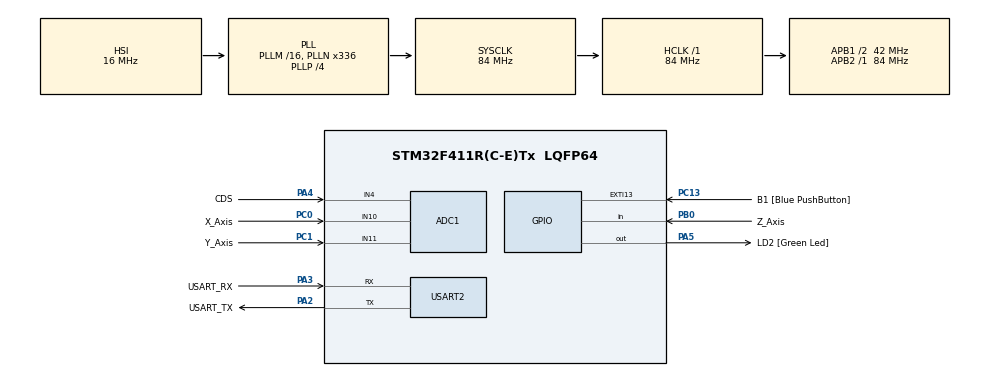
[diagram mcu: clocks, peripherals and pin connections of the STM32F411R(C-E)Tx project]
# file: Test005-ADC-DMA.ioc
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ADC1.Channel-0\#ChannelRegularConversion=ADC_CHANNEL_10
ADC1.Channel-1\#ChannelRegularConversion=ADC_CHANNEL_11
ADC1.Channel-2\#ChannelRegularConversion=ADC_CHANNEL_4
ADC1.DMAContinuousRequests=ENABLE
ADC1.DiscontinuousConvMode=ENABLE
ADC1.EOCSelection=ADC_EOC_SEQ_CONV
ADC1.ExternalTrigConv=ADC_EXTERNALTRIGCONV_T3_TRGO
ADC1.NbrOfConversion=3
ADC1.NbrOfConversionFlag=1
ADC1.Rank-0\#ChannelRegularConversion=1
ADC1.Rank-1\#ChannelRegularConversion=2
ADC1.Rank-2\#ChannelRegularConversion=3
ADC1.SamplingTime-0\#ChannelRegularConversion=ADC_SAMPLETIME_3CYCLES
ADC1.SamplingTime-1\#ChannelRegularConversion=ADC_SAMPLETIME_3CYCLES
ADC1.SamplingTime-2\#ChannelRegularConversion=ADC_SAMPLETIME_3CYCLES
ADC1.ScanConvMode=ENABLE
ADC1.master=1
Dma.ADC1.0.Direction=DMA_PERIPH_TO_MEMORY
Dma.ADC1.0.FIFOMode=DMA_FIFOMODE_DISABLE
Dma.ADC1.0.Instance=DMA2_Stream0
Dma.ADC1.0.MemDataAlignment=DMA_MDATAALIGN_HALFWORD
Dma.ADC1.0.MemInc=DMA_MINC_ENABLE
Dma.ADC1.0.Mode=DMA_CIRCULAR
Dma.ADC1.0.PeriphDataAlignment=DMA_PDATAALIGN_HALFWORD
Dma.ADC1.0.PeriphInc=DMA_PINC_DISABLE
Dma.ADC1.0.Priority=DMA_PRIORITY_LOW
Dma.Request0=ADC1
Mcu.Family=STM32F4
Mcu.Name=STM32F411R(C-E)Tx
Mcu.Package=LQFP64
NVIC.ADC_IRQn=true\:0\:0\:false\:false\:true\:true\:true\:true
NVIC.DMA2_Stream0_IRQn=true\:0\:0\:false\:false\:true\:false\:true\:true
NVIC.EXTI15_10_IRQn=true\:0\:0\:false\:false\:true\:true\:true\:true
NVIC.PriorityGroup=NVIC_PRIORITYGROUP_0
PA13.GPIO_Label=TMS
PA13.Mode=Serial_Wire
PA13.Signal=SYS_JTMS-SWDIO
PA14.GPIO_Label=TCK
PA14.Mode=Serial_Wire
PA14.Signal=SYS_JTCK-SWCLK
PA2.GPIO_Label=USART_TX
PA2.Mode=Asynchronous
PA2.Signal=USART2_TX
PA3.GPIO_Label=USART_RX
PA3.Mode=Asynchronous
PA3.Signal=USART2_RX
PA4.GPIO_Label=CDS
PA4.Signal=ADCx_IN4
PA5.GPIO_Label=LD2 [Green Led]
PA5.Signal=GPIO_Output
PB0.GPIO_Label=Z_Axis
PB0.GPIO_PuPd=GPIO_PULLUP
PB0.Signal=GPIO_Input
PB3.GPIO_Label=SWO
PB3.Signal=SYS_JTDO-SWO
PC0.GPIO_Label=X_Axis
PC0.Signal=ADCx_IN10
PC1.GPIO_Label=Y_Axis
PC1.Signal=ADCx_IN11
PC13-ANTI_TAMP.GPIO_Label=B1 [Blue PushButton]
PC13-ANTI_TAMP.GPIO_ModeDefaultEXTI=GPIO_MODE_IT_FALLING
PC13-ANTI_TAMP.Signal=GPXTI13
PC14-OSC32_IN.Mode=LSE-External-Oscillator
PC14-OSC32_IN.Signal=RCC_OSC32_IN
PC15-OSC32_OUT.Mode=LSE-External-Oscillator
PC15-OSC32_OUT.Signal=RCC_OSC32_OUT
PH0\ -\ OSC_IN.Mode=HSE-External-Clock-Source
PH0\ -\ OSC_IN.Signal=RCC_OSC_IN
PH1\ -\ OSC_OUT.Mode=HSE-External-Clock-Source
PH1\ -\ OSC_OUT.Signal=RCC_OSC_OUT
ProjectManager.HeapSize=0x200
ProjectManager.StackSize=0x400
ProjectManager.TargetToolchain=STM32CubeIDE
RCC.48MHZClocksFreq_Value=84000000
RCC.AHBFreq_Value=84000000
RCC.APB1CLKDivider=RCC_HCLK_DIV2
RCC.APB1Freq_Value=42000000
RCC.APB1TimFreq_Value=84000000
RCC.APB2Freq_Value=84000000
RCC.APB2TimFreq_Value=84000000
RCC.CortexFreq_Value=84000000
RCC.FLatency-AdvancedSettings=FLASH_LATENCY_2
RCC.HCLKFreq_Value=84000000
RCC.HSE_VALUE=8000000
RCC.HSI_VALUE=16000000
RCC.PLLN=336
RCC.PLLP=RCC_PLLP_DIV4
RCC.SYSCLKFreq_VALUE=84000000
RCC.SYSCLKSource=RCC_SYSCLKSOURCE_PLLCLK
RCC.VCOOutputFreq_Value=336000000
SH.ADCx_IN10.0=ADC1_IN10,IN10
SH.ADCx_IN11.0=ADC1_IN11,IN11
SH.ADCx_IN4.0=ADC1_IN4,IN4
TIM3.Period=1000-1
TIM3.Prescaler=8400-1
TIM3.TIM_MasterOutputTrigger=TIM_TRGO_UPDATE
USART2.VirtualMode=VM_ASYNC
VP_TIM3_VS_ClockSourceINT.Mode=Internal
board=NUCLEO-F411RE

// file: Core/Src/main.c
/* USER CODE BEGIN Header */
/**
  ******************************************************************************
  * @file           : main.c
  * @brief          : Main program body
  ******************************************************************************
  * @attention
  *
  * Copyright (c) 2024 STMicroelectronics.
  * All rights reserved.
  *
  * This software is licensed under terms that can be found in the LICENSE file
  * in the root directory of this software component.
  * If no LICENSE file comes with this software, it is provided AS-IS.
  *
  ******************************************************************************
  */
/* USER CODE END Header */
#include "main.h"

ADC_HandleTypeDef hadc1;
DMA_HandleTypeDef hdma_adc1;

TIM_HandleTypeDef htim3;

UART_HandleTypeDef huart2;

void SystemClock_Config(void);
static void MX_GPIO_Init(void);
static void MX_DMA_Init(void);
static void MX_USART2_UART_Init(void);
static void MX_ADC1_Init(void);
static void MX_TIM3_Init(void);

/* USER CODE BEGIN 0 */

union
{
	char v0[500];
	short v1[10];
	int v2[20];
	long v3[10];

} buf;

int mode=0;
void HAL_GPIO_EXTI_Callback(uint16_t GPIO_Pin)
{
	if (++mode>5) mode=1;
	cls();
}
void HAL_ADC_ConvCpltCallback(ADC_HandleTypeDef *hadc)
{

}

/* USER CODE END 0 */

int main(void)
{

  /* MCU Configuration--------------------------------------------------------*/

  /* Reset of all peripherals, Initializes the Flash interface and the Systick. */
  HAL_Init();

  /* Configure the system clock */
  SystemClock_Config();

  /* Initialize all configured peripherals */
  MX_GPIO_Init();
  MX_DMA_Init();
  MX_USART2_UART_Init();
  MX_ADC1_Init();
  MX_TIM3_Init();
  /* USER CODE BEGIN 2 */
  ProgramStart("ADC-DMA");
  HAL_TIM_Base_Start(&htim3);
  HAL_ADC_Start_DMA(&hadc1, &buf, 3);

  /* USER CODE END 2 */

  /* Infinite loop */
  /* USER CODE BEGIN WHILE */
  int lm=1;
  while (1)
  {
    /* USER CODE END WHILE */

    /* USER CODE BEGIN 3 */
	  int z=HAL_GPIO_ReadPin(Z_Axis_GPIO_Port, Z_Axis_Pin);
	  switch (mode)
	  {
	  case 1:
		  if(lm !=mode) {cls(); lm=mode;}  //delay 줄이기 위한 것 인데 잘 이해 안감
		  printf("\033[3;7HP(%d, %d, %d):%d     \n", buf.v1[0], buf.v1[1], z, buf.v1[2]);
		  break;

	  case 2:  //byte dump
		  if(lm !=mode) {cls(); lm=mode;}
		  printf("\033[3;7HP(%d, %d, %d):%d     \n", buf.v1[0], buf.v1[1], z, buf.v1[2]);
		  printf("\033[7;7H      <Memory dump mode>\r\n");
		  printf("\033[9;0H");
		  for(int j=0; j<20; j++)  //row index
		  {
		  	for(int i=0; i<16; i++)  //column index
		  	{
		  		printf("%02x ", buf.v0[16*j+i]);
		  		if(i==7) printf("   ");
		  	}
		  		printf("\r\n");
		  } break;

	  case 3:  //short dump
		  if(lm !=mode) {cls(); lm=mode;}
		  printf("\033[3;7HP(%d, %d, %d):%d     \n", buf.v1[0], buf.v1[1], z, buf.v1[2]);
		  printf("\033[7;7H      <Memory short mode>\r\n");
		  printf("\033[9;0H");
		  for(int j=0; j<20; j++)
		  {
		  	for(int i=0; i<8; i++)
		  	{
		  		printf("%04x ", buf.v1[8*j+i]);
		  		if(i==3) printf("   ");
		  	}
		  		printf("\r\n");
		  } break;
	  case 4:  //int dump
		  if(lm !=mode) {cls(); lm=mode;}
		  printf("\033[3;7HP(%d, %d, %d):%d     \n", buf.v1[0], buf.v1[1], z, buf.v1[2]);
		  printf("\033[7;7H      <Memory int mode>\r\n");
		  printf("\033[9;0H");
		  for(int j=0; j<20; j++)
		  {
			  for(int i=0; i<4; i++)
			  {
				  printf("%08x ", buf.v2[4*j+i]);
				  if(i==1) printf("   ");
			  }
				  printf("\r\n");
		  } break;
	  case 5:  //long dump
		  if(lm !=mode) {cls(); lm=mode;}
		  printf("\033[3;7HP(%d, %d, %d):%d     \n", buf.v1[0], buf.v1[1], z, buf.v1[2]);
		  printf("\033[7;7H      <Memory long mode>\r\n");
		  printf("\033[9;0H");
		  for(int j=0; j<20; j++)
		  {
			  for(int i=0; i<4; i++)
			  {
				  printf("%08X ", buf.v3[4*j+i]);
				  if(i==1) printf("   ");
			  }
				  printf("\r\n");
		  } break;

	  }

  }
  /* USER CODE END 3 */
}

void SystemClock_Config(void)
{
  RCC_OscInitTypeDef RCC_OscInitStruct = {0};
  RCC_ClkInitTypeDef RCC_ClkInitStruct = {0};

  /** Configure the main internal regulator output voltage
  */
  __HAL_RCC_PWR_CLK_ENABLE();
  __HAL_PWR_VOLTAGESCALING_CONFIG(PWR_REGULATOR_VOLTAGE_SCALE1);

  /** Initializes the RCC Oscillators according to the specified parameters
  * in the RCC_OscInitTypeDef structure.
  */
  RCC_OscInitStruct.OscillatorType = RCC_OSCILLATORTYPE_HSI;
  RCC_OscInitStruct.HSIState = RCC_HSI_ON;
  RCC_OscInitStruct.HSICalibrationValue = RCC_HSICALIBRATION_DEFAULT;
  RCC_OscInitStruct.PLL.PLLState = RCC_PLL_ON;
  RCC_OscInitStruct.PLL.PLLSource = RCC_PLLSOURCE_HSI;
  RCC_OscInitStruct.PLL.PLLM = 16;
  RCC_OscInitStruct.PLL.PLLN = 336;
  RCC_OscInitStruct.PLL.PLLP = RCC_PLLP_DIV4;
  RCC_OscInitStruct.PLL.PLLQ = 4;
  if (HAL_RCC_OscConfig(&RCC_OscInitStruct) != HAL_OK)
  {
    Error_Handler();
  }

  /** Initializes the CPU, AHB and APB buses clocks
  */
  RCC_ClkInitStruct.ClockType = RCC_CLOCKTYPE_HCLK|RCC_CLOCKTYPE_SYSCLK
                              |RCC_CLOCKTYPE_PCLK1|RCC_CLOCKTYPE_PCLK2;
  RCC_ClkInitStruct.SYSCLKSource = RCC_SYSCLKSOURCE_PLLCLK;
  RCC_ClkInitStruct.AHBCLKDivider = RCC_SYSCLK_DIV1;
  RCC_ClkInitStruct.APB1CLKDivider = RCC_HCLK_DIV2;
  RCC_ClkInitStruct.APB2CLKDivider = RCC_HCLK_DIV1;

  if (HAL_RCC_ClockConfig(&RCC_ClkInitStruct, FLASH_LATENCY_2) != HAL_OK)
  {
    Error_Handler();
  }
}

static void MX_ADC1_Init(void)
{

  ADC_ChannelConfTypeDef sConfig = {0};

  /** Configure the global features of the ADC (Clock, Resolution, Data Alignment and number of conversion)
  */
  hadc1.Instance = ADC1;
  hadc1.Init.ClockPrescaler = ADC_CLOCK_SYNC_PCLK_DIV4;
  hadc1.Init.Resolution = ADC_RESOLUTION_12B;
  hadc1.Init.ScanConvMode = ENABLE;
  hadc1.Init.ContinuousConvMode = DISABLE;
  hadc1.Init.DiscontinuousConvMode = ENABLE;
  hadc1.Init.NbrOfDiscConversion = 1;
  hadc1.Init.ExternalTrigConvEdge = ADC_EXTERNALTRIGCONVEDGE_RISING;
  hadc1.Init.ExternalTrigConv = ADC_EXTERNALTRIGCONV_T3_TRGO;
  hadc1.Init.DataAlign = ADC_DATAALIGN_RIGHT;
  hadc1.Init.NbrOfConversion = 3;
  hadc1.Init.DMAContinuousRequests = ENABLE;
  hadc1.Init.EOCSelection = ADC_EOC_SEQ_CONV;
  if (HAL_ADC_Init(&hadc1) != HAL_OK)
  {
    Error_Handler();
  }

  /** Configure for the selected ADC regular channel its corresponding rank in the sequencer and its sample time.
  */
  sConfig.Channel = ADC_CHANNEL_10;
  sConfig.Rank = 1;
  sConfig.SamplingTime = ADC_SAMPLETIME_3CYCLES;
  if (HAL_ADC_ConfigChannel(&hadc1, &sConfig) != HAL_OK)
  {
    Error_Handler();
  }

  /** Configure for the selected ADC regular channel its corresponding rank in the sequencer and its sample time.
  */
  sConfig.Channel = ADC_CHANNEL_11;
  sConfig.Rank = 2;
  if (HAL_ADC_ConfigChannel(&hadc1, &sConfig) != HAL_OK)
  {
    Error_Handler();
  }

  /** Configure for the selected ADC regular channel its corresponding rank in the sequencer and its sample time.
  */
  sConfig.Channel = ADC_CHANNEL_4;
  sConfig.Rank = 3;
  if (HAL_ADC_ConfigChannel(&hadc1, &sConfig) != HAL_OK)
  {
    Error_Handler();
  }

}

static void MX_TIM3_Init(void)
{

  TIM_ClockConfigTypeDef sClockSourceConfig = {0};
  TIM_MasterConfigTypeDef sMasterConfig = {0};

  htim3.Instance = TIM3;
  htim3.Init.Prescaler = 8400-1;
  htim3.Init.CounterMode = TIM_COUNTERMODE_UP;
  htim3.Init.Period = 1000-1;
  htim3.Init.ClockDivision = TIM_CLOCKDIVISION_DIV1;
  htim3.Init.AutoReloadPreload = TIM_AUTORELOAD_PRELOAD_DISABLE;
  if (HAL_TIM_Base_Init(&htim3) != HAL_OK)
  {
    Error_Handler();
  }
  sClockSourceConfig.ClockSource = TIM_CLOCKSOURCE_INTERNAL;
  if (HAL_TIM_ConfigClockSource(&htim3, &sClockSourceConfig) != HAL_OK)
  {
    Error_Handler();
  }
  sMasterConfig.MasterOutputTrigger = TIM_TRGO_UPDATE;
  sMasterConfig.MasterSlaveMode = TIM_MASTERSLAVEMODE_DISABLE;
  if (HAL_TIMEx_MasterConfigSynchronization(&htim3, &sMasterConfig) != HAL_OK)
  {
    Error_Handler();
  }

}

static void MX_USART2_UART_Init(void)
{

  huart2.Instance = USART2;
  huart2.Init.BaudRate = 115200;
  huart2.Init.WordLength = UART_WORDLENGTH_8B;
  huart2.Init.StopBits = UART_STOPBITS_1;
  huart2.Init.Parity = UART_PARITY_NONE;
  huart2.Init.Mode = UART_MODE_TX_RX;
  huart2.Init.HwFlowCtl = UART_HWCONTROL_NONE;
  huart2.Init.OverSampling = UART_OVERSAMPLING_16;
  if (HAL_UART_Init(&huart2) != HAL_OK)
  {
    Error_Handler();
  }

}

static void MX_DMA_Init(void)
{

  /* DMA controller clock enable */
  __HAL_RCC_DMA2_CLK_ENABLE();

  /* DMA interrupt init */
  /* DMA2_Stream0_IRQn interrupt configuration */
  HAL_NVIC_SetPriority(DMA2_Stream0_IRQn, 0, 0);
  HAL_NVIC_EnableIRQ(DMA2_Stream0_IRQn);

}

static void MX_GPIO_Init(void)
{
  GPIO_InitTypeDef GPIO_InitStruct = {0};

  /* GPIO Ports Clock Enable */
  __HAL_RCC_GPIOC_CLK_ENABLE();
  __HAL_RCC_GPIOH_CLK_ENABLE();
  __HAL_RCC_GPIOA_CLK_ENABLE();
  __HAL_RCC_GPIOB_CLK_ENABLE();

  /*Configure GPIO pin Output Level */
  HAL_GPIO_WritePin(LD2_GPIO_Port, LD2_Pin, GPIO_PIN_RESET);

  /*Configure GPIO pin : B1_Pin */
  GPIO_InitStruct.Pin = B1_Pin;
  GPIO_InitStruct.Mode = GPIO_MODE_IT_FALLING;
  GPIO_InitStruct.Pull = GPIO_NOPULL;
  HAL_GPIO_Init(B1_GPIO_Port, &GPIO_InitStruct);

  /*Configure GPIO pin : LD2_Pin */
  GPIO_InitStruct.Pin = LD2_Pin;
  GPIO_InitStruct.Mode = GPIO_MODE_OUTPUT_PP;
  GPIO_InitStruct.Pull = GPIO_NOPULL;
  GPIO_InitStruct.Speed = GPIO_SPEED_FREQ_LOW;
  HAL_GPIO_Init(LD2_GPIO_Port, &GPIO_InitStruct);

  /*Configure GPIO pin : Z_Axis_Pin */
  GPIO_InitStruct.Pin = Z_Axis_Pin;
  GPIO_InitStruct.Mode = GPIO_MODE_INPUT;
  GPIO_InitStruct.Pull = GPIO_PULLUP;
  HAL_GPIO_Init(Z_Axis_GPIO_Port, &GPIO_InitStruct);

  /* EXTI interrupt init*/
  HAL_NVIC_SetPriority(EXTI15_10_IRQn, 0, 0);
  HAL_NVIC_EnableIRQ(EXTI15_10_IRQn);

}

void Error_Handler(void)
{
  __disable_irq();
  while (1)
  {
  }
}
